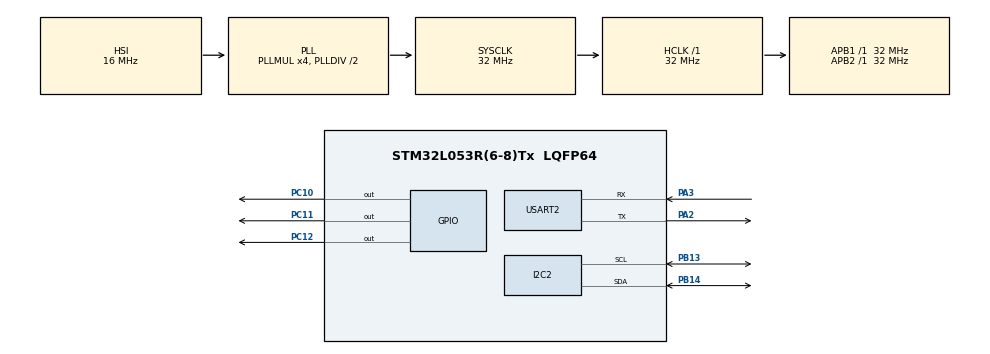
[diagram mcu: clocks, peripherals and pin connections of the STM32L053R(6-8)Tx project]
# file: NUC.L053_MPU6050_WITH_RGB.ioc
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I2C2.Timing=0x00707CBB
Mcu.Family=STM32L0
Mcu.Name=STM32L053R(6-8)Tx
Mcu.Package=LQFP64
PA13.Mode=Serial_Wire
PA13.Signal=SYS_SWDIO
PA14.Mode=Serial_Wire
PA14.Signal=SYS_SWCLK
PA2.Mode=Asynchronous
PA2.Signal=USART2_TX
PA3.Mode=Asynchronous
PA3.Signal=USART2_RX
PB13.Mode=I2C
PB13.Signal=I2C2_SCL
PB14.Mode=I2C
PB14.Signal=I2C2_SDA
PC10.Signal=GPIO_Output
PC11.Signal=GPIO_Output
PC12.Signal=GPIO_Output
ProjectManager.HeapSize=0x200
ProjectManager.StackSize=0x400
ProjectManager.TargetToolchain=STM32CubeIDE
RCC.AHBFreq_Value=32000000
RCC.APB1Freq_Value=32000000
RCC.APB1TimFreq_Value=32000000
RCC.APB2Freq_Value=32000000
RCC.APB2TimFreq_Value=32000000
RCC.HCLKFreq_Value=32000000
RCC.HSE_VALUE=8000000
RCC.HSI16_VALUE=16000000
RCC.HSI48_VALUE=48000000
RCC.HSI_VALUE=16000000
RCC.LSEState=RCC_LSE_ON
RCC.LSE_VALUE=32768
RCC.MSI_VALUE=2097000
RCC.PLLMUL=RCC_PLLMUL_4
RCC.SYSCLKFreq_VALUE=32000000
RCC.SYSCLKSource=RCC_SYSCLKSOURCE_PLLCLK
RCC.VCOOutputFreq_Value=64000000
USART2.VirtualMode-Asynchronous=VM_ASYNC
board=NUCLEO-L053R8

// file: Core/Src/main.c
/* USER CODE BEGIN Header */
/**
  ******************************************************************************
  * @file           : main.c
  * @brief          : Main program body
  ******************************************************************************
  * @attention
  *
  * Copyright (c) 2023 STMicroelectronics.
  * All rights reserved.
  *
  * This software is licensed under terms that can be found in the LICENSE file
  * in the root directory of this software component.
  * If no LICENSE file comes with this software, it is provided AS-IS.
  *
  ******************************************************************************
  */
/* USER CODE END Header */
#include "main.h"

/* USER CODE BEGIN Includes */
#include "string.h"
#include "stdio.h"
/* USER CODE END Includes */

I2C_HandleTypeDef hi2c2;

UART_HandleTypeDef huart2;

void SystemClock_Config(void);
static void MX_GPIO_Init(void);
static void MX_I2C2_Init(void);
static void MX_USART2_UART_Init(void);

/* USER CODE BEGIN 0 */

#define MPU6050_ADDR 0xD0

#define SMPLRT_DIV_REG 0x19
#define GYRO_CONFIG_REG 0x1B
#define ACCEL_CONFIG_REG 0x1C
#define ACCEL_XOUT_H_REG 0x3B
#define TEMP_OUT_H_REG 0x41
#define GYRO_XOUT_H_REG 0x43
#define PWR_MGMT_1_REG 0x6B
#define WHO_AM_I_REG 0x75

int16_t Accel_X_RAW = 0;
int16_t Accel_Y_RAW = 0;
int16_t Accel_Z_RAW = 0;

int16_t Gyro_X_RAW = 0;
int16_t Gyro_Y_RAW = 0;
int16_t Gyro_Z_RAW = 0;

float Ax, Ay, Az, Gx, Gy, Gz;
uint8_t ARec_Data[6];
uint8_t GRec_Data[6];
void MPU6050_Init (void)
{
	uint8_t check=0;
	uint8_t Data;

	// check device ID WHO_AM_I

	HAL_I2C_Mem_Read (&hi2c2, MPU6050_ADDR,WHO_AM_I_REG,1, &check, 1, 1000);

	if (check == 104)  // 0x68 will be returned by the sensor if everything goes well
	{
		// power management register 0X6B we should write all 0's to wake the sensor up
		Data = 0;
		HAL_I2C_Mem_Write(&hi2c2, MPU6050_ADDR, PWR_MGMT_1_REG, 1,&Data, 1, 1000);

		// Set DATA RATE of 1KHz by writing SMPLRT_DIV register
		Data = 0x07;
		HAL_I2C_Mem_Write(&hi2c2, MPU6050_ADDR, SMPLRT_DIV_REG, 1, &Data, 1, 1000);

		// Set accelerometer configuration in ACCEL_CONFIG Register
		// XA_ST=0,YA_ST=0,ZA_ST=0, FS_SEL=0 -> ± 2g
		Data = 0x00;
		HAL_I2C_Mem_Write(&hi2c2, MPU6050_ADDR, ACCEL_CONFIG_REG, 1, &Data, 1, 1000);

		// Set Gyroscopic configuration in GYRO_CONFIG Register
		// XG_ST=0,YG_ST=0,ZG_ST=0, FS_SEL=0 -> ± 250 °/s
		Data = 0x00;
		HAL_I2C_Mem_Write(&hi2c2, MPU6050_ADDR, GYRO_CONFIG_REG, 1, &Data, 1, 1000);
	}

}

void MPU6050_Read_Accel (void)
{

	// Read 6 BYTES of data starting from ACCEL_XOUT_H register

	HAL_I2C_Mem_Read (&hi2c2, MPU6050_ADDR, ACCEL_XOUT_H_REG, 1, ARec_Data, 6, 1000);

	Accel_X_RAW = (int16_t)(ARec_Data[0] << 8 | ARec_Data [1]);
	Accel_Y_RAW = (int16_t)(ARec_Data[2] << 8 | ARec_Data [3]);
	Accel_Z_RAW = (int16_t)(ARec_Data[4] << 8 | ARec_Data [5]);

	/*** convert the RAW values into acceleration in 'g'
	     we have to divide according to the Full scale value set in FS_SEL
	     I have configured FS_SEL = 0. So I am dividing by 16384.0
	     for more details check ACCEL_CONFIG Register              ****/

	Ax = Accel_X_RAW/16384.0;
	Ay = Accel_Y_RAW/16384.0;
	Az = Accel_Z_RAW/16384.0;
}

void MPU6050_Read_Gyro (void)
{

	// Read 6 BYTES of data starting from GYRO_XOUT_H register

	HAL_I2C_Mem_Read (&hi2c2, MPU6050_ADDR, GYRO_XOUT_H_REG, 1, GRec_Data, 6, 1000);

	Gyro_X_RAW = (int16_t)(GRec_Data[0] << 8 | GRec_Data [1]);
	Gyro_Y_RAW = (int16_t)(GRec_Data[2] << 8 | GRec_Data [3]);
	Gyro_Z_RAW = (int16_t)(GRec_Data[4] << 8 | GRec_Data [5]);

	/*** convert the RAW values into dps (°/s)
	     we have to divide according to the Full scale value set in FS_SEL
	     I have configured FS_SEL = 0. So I am dividing by 131.0
	     for more details check GYRO_CONFIG Register              ****/

	Gx = Gyro_X_RAW/131.0;
	Gy = Gyro_Y_RAW/131.0;
	Gz = Gyro_Z_RAW/131.0;
}

/* USER CODE END 0 */

int main(void)
{

  /* MCU Configuration--------------------------------------------------------*/

  /* Reset of all peripherals, Initializes the Flash interface and the Systick. */
  HAL_Init();

  /* Configure the system clock */
  SystemClock_Config();

  /* Initialize all configured peripherals */
  MX_GPIO_Init();
  MX_I2C2_Init();
  MX_USART2_UART_Init();
  /* USER CODE BEGIN 2 */
  MPU6050_Init();

  HAL_Delay (1000);  // wait for 1 sec

    char buf[1024];
  /* USER CODE END 2 */

  /* Infinite loop */
  while (1)
  {

    /* USER CODE BEGIN 3 */
	  // read the Accelerometer and Gyro values

	  	  MPU6050_Read_Accel();
	  	  MPU6050_Read_Gyro();

	  	  // print the Acceleration and Gyro values on the LCD 20x4

	  	  sprintf (buf, "X Ekseni %.2f ", Ax);
	  	  HAL_UART_Transmit(&huart2, (uint8_t*)buf, strlen(buf), 250);

	  	  sprintf (buf, "Y Ekseni %.2f ", Ay);
	  	  HAL_UART_Transmit(&huart2, (uint8_t*)buf, strlen(buf), 250);

	  	  sprintf (buf, "Z Ekseni %.2f\n", Az);
	  	  HAL_UART_Transmit(&huart2, (uint8_t*)buf, strlen(buf), 250);

	  	  sprintf (buf, "GX: %.2f ", Gx);
	  	  HAL_UART_Transmit(&huart2, (uint8_t*)buf, strlen(buf), 250);

	  	  sprintf (buf, "GY Ekseni %.2f ", Gy);
	  	  HAL_UART_Transmit(&huart2, (uint8_t*)buf, strlen(buf), 250);

	  	  sprintf (buf, "GZ Ekseni %.2f\n", Gz);
	  	  HAL_UART_Transmit(&huart2, (uint8_t*)buf, strlen(buf), 250);

	  	  HAL_Delay (250);  // wait for a while
  }
  /* USER CODE END 3 */
}

void SystemClock_Config(void)
{
  RCC_OscInitTypeDef RCC_OscInitStruct = {0};
  RCC_ClkInitTypeDef RCC_ClkInitStruct = {0};
  RCC_PeriphCLKInitTypeDef PeriphClkInit = {0};

  /** Configure the main internal regulator output voltage
  */
  __HAL_PWR_VOLTAGESCALING_CONFIG(PWR_REGULATOR_VOLTAGE_SCALE1);

  /** Initializes the RCC Oscillators according to the specified parameters
  * in the RCC_OscInitTypeDef structure.
  */
  RCC_OscInitStruct.OscillatorType = RCC_OSCILLATORTYPE_HSI;
  RCC_OscInitStruct.HSIState = RCC_HSI_ON;
  RCC_OscInitStruct.HSICalibrationValue = RCC_HSICALIBRATION_DEFAULT;
  RCC_OscInitStruct.PLL.PLLState = RCC_PLL_ON;
  RCC_OscInitStruct.PLL.PLLSource = RCC_PLLSOURCE_HSI;
  RCC_OscInitStruct.PLL.PLLMUL = RCC_PLLMUL_4;
  RCC_OscInitStruct.PLL.PLLDIV = RCC_PLLDIV_2;
  if (HAL_RCC_OscConfig(&RCC_OscInitStruct) != HAL_OK)
  {
    Error_Handler();
  }

  /** Initializes the CPU, AHB and APB buses clocks
  */
  RCC_ClkInitStruct.ClockType = RCC_CLOCKTYPE_HCLK|RCC_CLOCKTYPE_SYSCLK
                              |RCC_CLOCKTYPE_PCLK1|RCC_CLOCKTYPE_PCLK2;
  RCC_ClkInitStruct.SYSCLKSource = RCC_SYSCLKSOURCE_PLLCLK;
  RCC_ClkInitStruct.AHBCLKDivider = RCC_SYSCLK_DIV1;
  RCC_ClkInitStruct.APB1CLKDivider = RCC_HCLK_DIV1;
  RCC_ClkInitStruct.APB2CLKDivider = RCC_HCLK_DIV1;

  if (HAL_RCC_ClockConfig(&RCC_ClkInitStruct, FLASH_LATENCY_1) != HAL_OK)
  {
    Error_Handler();
  }
  PeriphClkInit.PeriphClockSelection = RCC_PERIPHCLK_USART2;
  PeriphClkInit.Usart2ClockSelection = RCC_USART2CLKSOURCE_PCLK1;
  if (HAL_RCCEx_PeriphCLKConfig(&PeriphClkInit) != HAL_OK)
  {
    Error_Handler();
  }
}

static void MX_I2C2_Init(void)
{

  hi2c2.Instance = I2C2;
  hi2c2.Init.Timing = 0x00707CBB;
  hi2c2.Init.OwnAddress1 = 0;
  hi2c2.Init.AddressingMode = I2C_ADDRESSINGMODE_7BIT;
  hi2c2.Init.DualAddressMode = I2C_DUALADDRESS_DISABLE;
  hi2c2.Init.OwnAddress2 = 0;
  hi2c2.Init.OwnAddress2Masks = I2C_OA2_NOMASK;
  hi2c2.Init.GeneralCallMode = I2C_GENERALCALL_DISABLE;
  hi2c2.Init.NoStretchMode = I2C_NOSTRETCH_DISABLE;
  if (HAL_I2C_Init(&hi2c2) != HAL_OK)
  {
    Error_Handler();
  }

  /** Configure Analogue filter
  */
  if (HAL_I2CEx_ConfigAnalogFilter(&hi2c2, I2C_ANALOGFILTER_ENABLE) != HAL_OK)
  {
    Error_Handler();
  }

  /** Configure Digital filter
  */
  if (HAL_I2CEx_ConfigDigitalFilter(&hi2c2, 0) != HAL_OK)
  {
    Error_Handler();
  }

}

static void MX_USART2_UART_Init(void)
{

  huart2.Instance = USART2;
  huart2.Init.BaudRate = 115200;
  huart2.Init.WordLength = UART_WORDLENGTH_8B;
  huart2.Init.StopBits = UART_STOPBITS_1;
  huart2.Init.Parity = UART_PARITY_NONE;
  huart2.Init.Mode = UART_MODE_TX_RX;
  huart2.Init.HwFlowCtl = UART_HWCONTROL_NONE;
  huart2.Init.OverSampling = UART_OVERSAMPLING_16;
  huart2.Init.OneBitSampling = UART_ONE_BIT_SAMPLE_DISABLE;
  huart2.AdvancedInit.AdvFeatureInit = UART_ADVFEATURE_NO_INIT;
  if (HAL_UART_Init(&huart2) != HAL_OK)
  {
    Error_Handler();
  }

}

static void MX_GPIO_Init(void)
{
  GPIO_InitTypeDef GPIO_InitStruct = {0};

  /* GPIO Ports Clock Enable */
  __HAL_RCC_GPIOA_CLK_ENABLE();
  __HAL_RCC_GPIOB_CLK_ENABLE();
  __HAL_RCC_GPIOC_CLK_ENABLE();

  /*Configure GPIO pin Output Level */
  HAL_GPIO_WritePin(GPIOC, GPIO_PIN_10|GPIO_PIN_11|GPIO_PIN_12, GPIO_PIN_RESET);

  /*Configure GPIO pins : PC10 PC11 PC12 */
  GPIO_InitStruct.Pin = GPIO_PIN_10|GPIO_PIN_11|GPIO_PIN_12;
  GPIO_InitStruct.Mode = GPIO_MODE_OUTPUT_PP;
  GPIO_InitStruct.Pull = GPIO_NOPULL;
  GPIO_InitStruct.Speed = GPIO_SPEED_FREQ_LOW;
  HAL_GPIO_Init(GPIOC, &GPIO_InitStruct);

}

void Error_Handler(void)
{
  __disable_irq();
  while (1)
  {
  }
}
